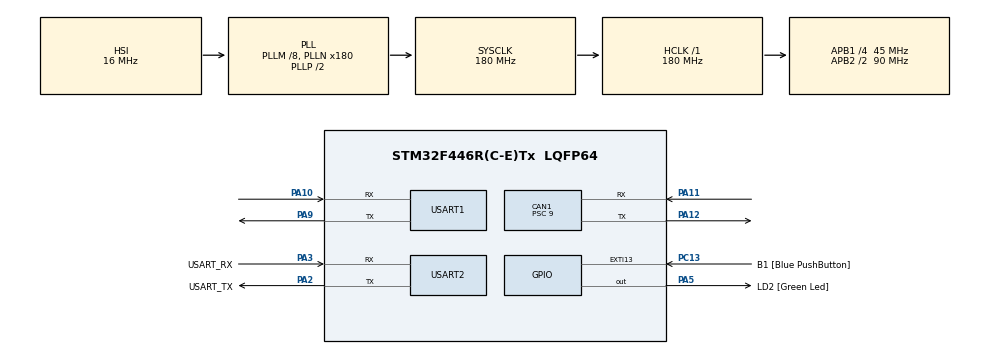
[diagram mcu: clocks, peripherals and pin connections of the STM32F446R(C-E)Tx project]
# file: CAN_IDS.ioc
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CAN1.BS1=CAN_BS1_8TQ
CAN1.CalculateBaudRate=500000
CAN1.CalculateTimeBit=2000
CAN1.CalculateTimeQuantum=200.0
CAN1.Prescaler=9
Mcu.Family=STM32F4
Mcu.Name=STM32F446R(C-E)Tx
Mcu.Package=LQFP64
NVIC.CAN1_RX0_IRQn=true\:0\:0\:false\:false\:true\:true\:true\:true
NVIC.CAN1_RX1_IRQn=true\:0\:0\:false\:false\:true\:true\:true\:true
NVIC.PriorityGroup=NVIC_PRIORITYGROUP_0
NVIC.USART1_IRQn=true\:0\:0\:false\:false\:true\:true\:true\:true
PA10.Mode=Asynchronous
PA10.Signal=USART1_RX
PA11.Mode=CAN_Activate
PA11.Signal=CAN1_RX
PA12.Mode=CAN_Activate
PA12.Signal=CAN1_TX
PA13.GPIO_Label=TMS
PA13.Mode=Serial_Wire
PA13.Signal=SYS_JTMS-SWDIO
PA14.GPIO_Label=TCK
PA14.Mode=Serial_Wire
PA14.Signal=SYS_JTCK-SWCLK
PA2.GPIO_Label=USART_TX
PA2.Mode=Asynchronous
PA2.Signal=USART2_TX
PA3.GPIO_Label=USART_RX
PA3.Mode=Asynchronous
PA3.Signal=USART2_RX
PA5.GPIO_Label=LD2 [Green Led]
PA5.Signal=GPIO_Output
PA9.Mode=Asynchronous
PA9.Signal=USART1_TX
PB3.GPIO_Label=SWO
PB3.Signal=SYS_JTDO-SWO
PC13.GPIO_Label=B1 [Blue PushButton]
PC13.GPIO_ModeDefaultEXTI=GPIO_MODE_IT_FALLING
PC13.Signal=GPXTI13
PC14-OSC32_IN.Mode=LSE-External-Oscillator
PC14-OSC32_IN.Signal=RCC_OSC32_IN
PC15-OSC32_OUT.Mode=LSE-External-Oscillator
PC15-OSC32_OUT.Signal=RCC_OSC32_OUT
PH0-OSC_IN.Mode=HSE-External-Oscillator
PH0-OSC_IN.Signal=RCC_OSC_IN
PH1-OSC_OUT.Mode=HSE-External-Oscillator
PH1-OSC_OUT.Signal=RCC_OSC_OUT
ProjectManager.HeapSize=0x8000
ProjectManager.StackSize=0x1000
ProjectManager.TargetToolchain=STM32CubeIDE
RCC.48MHZClocksFreq_Value=84000000
RCC.AHBFreq_Value=180000000
RCC.APB1CLKDivider=RCC_HCLK_DIV4
RCC.APB1Freq_Value=45000000
RCC.APB1TimFreq_Value=90000000
RCC.APB2CLKDivider=RCC_HCLK_DIV2
RCC.APB2Freq_Value=90000000
RCC.APB2TimFreq_Value=180000000
RCC.CortexFreq_Value=180000000
RCC.FLatency-AdvancedSettings=FLASH_LATENCY_5
RCC.HCLKFreq_Value=180000000
RCC.HSE_VALUE=8000000
RCC.HSI_VALUE=16000000
RCC.PLLM=8
RCC.PLLN=180
RCC.SYSCLKFreq_VALUE=180000000
RCC.SYSCLKSource=RCC_SYSCLKSOURCE_PLLCLK
RCC.USBFreq_Value=180000000
RCC.VCOOutputFreq_Value=360000000
STMicroelectronics.X-CUBE-AI.10.2.0.ActivationBufferSizeList=2688
STMicroelectronics.X-CUBE-AI.10.2.0.ActivationBuffers=pool0
STMicroelectronics.X-CUBE-AI.10.2.0.ActivationNames=pool0
STMicroelectronics.X-CUBE-AI.10.2.0.ActivationSizes=AI_NETWORK_DATA_ACTIVATION_1_SIZE
STMicroelectronics.X-CUBE-AI.10.2.0.HeapSize=0x8000
STMicroelectronics.X-CUBE-AI.10.2.0.InternalRamActivationBufferMaxSize=AI_NETWORK_DATA_ACTIVATIONS_SIZE
STMicroelectronics.X-CUBE-AI.10.2.0.LatestDirectoryUsed-1ac19ca26636faceee7dcea310d20471a6b53a83fc62aaac5f1034fb5df33bc9=D\:\\HCL\\data
STMicroelectronics.X-CUBE-AI.10.2.0.MaximumNumberOfInputLayer=1
STMicroelectronics.X-CUBE-AI.10.2.0.MaximumNumberOfOutputLayer=1
STMicroelectronics.X-CUBE-AI.10.2.0.MaximumSizeOfInputLayer=1
STMicroelectronics.X-CUBE-AI.10.2.0.MaximumSizeOfOutputLayer=1
STMicroelectronics.X-CUBE-AI.10.2.0.ModelActualCompression-1ac19ca26636faceee7dcea310d20471a6b53a83fc62aaac5f1034fb5df33bc9=0.0
STMicroelectronics.X-CUBE-AI.10.2.0.ModelCompression-1ac19ca26636faceee7dcea310d20471a6b53a83fc62aaac5f1034fb5df33bc9=None
STMicroelectronics.X-CUBE-AI.10.2.0.ModelFlashOccupation-1ac19ca26636faceee7dcea310d20471a6b53a83fc62aaac5f1034fb5df33bc9=17250
STMicroelectronics.X-CUBE-AI.10.2.0.ModelHashList=1ac19ca26636faceee7dcea310d20471a6b53a83fc62aaac5f1034fb5df33bc9
STMicroelectronics.X-CUBE-AI.10.2.0.ModelKind-1ac19ca26636faceee7dcea310d20471a6b53a83fc62aaac5f1034fb5df33bc9=TFLITE
STMicroelectronics.X-CUBE-AI.10.2.0.ModelMacc-1ac19ca26636faceee7dcea310d20471a6b53a83fc62aaac5f1034fb5df33bc9=3088
STMicroelectronics.X-CUBE-AI.10.2.0.ModelName-1ac19ca26636faceee7dcea310d20471a6b53a83fc62aaac5f1034fb5df33bc9=network
STMicroelectronics.X-CUBE-AI.10.2.0.ModelNameList=network
STMicroelectronics.X-CUBE-AI.10.2.0.ModelRamOccupation-1ac19ca26636faceee7dcea310d20471a6b53a83fc62aaac5f1034fb5df33bc9=2688
STMicroelectronics.X-CUBE-AI.10.2.0.ModelStructureFile-1ac19ca26636faceee7dcea310d20471a6b53a83fc62aaac5f1034fb5df33bc9=D\:\\HCL\\data\\can_ids_model.tflite
STMicroelectronics.X-CUBE-AI.10.2.0.ModelType-1ac19ca26636faceee7dcea310d20471a6b53a83fc62aaac5f1034fb5df33bc9=STM32Cube.AI MCU runtime
STMicroelectronics.X-CUBE-AI.10.2.0.ReadyForCodeGeneration=true
STMicroelectronics.X-CUBE-AI.10.2.0.StackSize=0x1000
STMicroelectronics.X-CUBE-AI.10.2.0.WorkingBufferStartAddrList=0xFFFFFFFF
STMicroelectronics.X-CUBE-AI.10.2.0.XAaCUBEAaAICcArtificialOoIntelligenceJjCore=true
STMicroelectronics.X-CUBE-AI.10.2.0.copyWeightToRam=false
STMicroelectronics.X-CUBE-AI.10.2.0.copyWeightToRam-1ac19ca26636faceee7dcea310d20471a6b53a83fc62aaac5f1034fb5df33bc9=false
STMicroelectronics.X-CUBE-AI.10.2.0.customLayerConfigEnabled=false
STMicroelectronics.X-CUBE-AI.10.2.0.customLayerConfigEnabled-1ac19ca26636faceee7dcea310d20471a6b53a83fc62aaac5f1034fb5df33bc9=false
STMicroelectronics.X-CUBE-AI.10.2.0.noOnnxIoTranspose=false
STMicroelectronics.X-CUBE-AI.10.2.0.noOnnxIoTranspose-1ac19ca26636faceee7dcea310d20471a6b53a83fc62aaac5f1034fb5df33bc9=false
STMicroelectronics.X-CUBE-AI.10.2.0.useInputAllocation=true
STMicroelectronics.X-CUBE-AI.10.2.0.useInputAllocation-1ac19ca26636faceee7dcea310d20471a6b53a83fc62aaac5f1034fb5df33bc9=true
STMicroelectronics.X-CUBE-AI.10.2.0.useOutputAllocation=true
STMicroelectronics.X-CUBE-AI.10.2.0.useOutputAllocation-1ac19ca26636faceee7dcea310d20471a6b53a83fc62aaac5f1034fb5df33bc9=true
USART1.VirtualMode=VM_ASYNC
USART2.VirtualMode=VM_ASYNC
VP_STMicroelectronics.X-CUBE-AI_VS_ArtificialOoIntelligenceJjXAaCUBEAaAI_10.2.0.Mode=ArtificialOoIntelligenceJjXAaCUBEAaAI
board=NUCLEO-F446RE

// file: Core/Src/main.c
/* USER CODE BEGIN Header */
/**
  ******************************************************************************
  * @file           : main.c
  * @brief          : Main program body
  ******************************************************************************
  * @attention
  *
  * Copyright (c) 2026 STMicroelectronics.
  * All rights reserved.
  *
  * This software is licensed under terms that can be found in the LICENSE file
  * in the root directory of this software component.
  * If no LICENSE file comes with this software, it is provided AS-IS.
  *
  ******************************************************************************
  */
/* USER CODE END Header */
#include "main.h"

/* USER CODE BEGIN Includes */
#ifdef __cplusplus
extern "C" {
#endif

#include "uart_log.h"
#include "can_driver.h"
#include "feature_extractor.h"

#ifdef __cplusplus
}
#endif

#include "network.h"
#include "network_data.h"
#include "network_data_params.h"
#include "uart_frame_parser.h"
/* USER CODE END Includes */

CAN_HandleTypeDef hcan1;

UART_HandleTypeDef huart1;
UART_HandleTypeDef huart2;

/* USER CODE BEGIN PV */
static ai_handle network = AI_HANDLE_NULL;

// Input/output buffers — int8 since model is quantized
static ai_i8 in_data[AI_NETWORK_IN_1_SIZE];
static ai_i8 out_data[AI_NETWORK_OUT_1_SIZE];

static uint32_t prev_timestamp = 0;

static const char* CLASS_NAMES[5] = {
    "NORMAL", "DoS ATTACK", "FUZZY ATTACK", "GEAR SPOOFING", "RPM SPOOFING"
};
/* USER CODE END PV */

void SystemClock_Config(void);
static void MX_GPIO_Init(void);
static void MX_USART2_UART_Init(void);
static void MX_CAN1_Init(void);
static void MX_USART1_UART_Init(void);

int main(void)
{

  /* MCU Configuration--------------------------------------------------------*/

  /* Reset of all peripherals, Initializes the Flash interface and the Systick. */
  HAL_Init();

  /* Configure the system clock */
  SystemClock_Config();

  /* Initialize all configured peripherals */
  MX_GPIO_Init();
  MX_USART2_UART_Init();
  MX_CAN1_Init();
  MX_USART1_UART_Init();

  /* USER CODE BEGIN 2 */
  uart_log(&huart2, "\r\n=== CAN IDS System Starting ===\r\n");

  CAN_Driver_Init();
  uart_log(&huart2, "[OK] CAN Driver Initialized\r\n");

  UART_Parser_Init(&huart1);
  uart_log(&huart2, "[OK] UART Frame Parser Ready\r\n");

  static ai_u8 activations[AI_NETWORK_DATA_ACTIVATIONS_SIZE];
  const ai_handle activations_ptr[1] = { activations };
  ai_error err = ai_network_create_and_init(&network, activations_ptr, NULL);
  if (err.type != AI_ERROR_NONE)
  {
      uart_log(&huart2, "[ERROR] Network init failed!\r\n");
      while(1);
  }
  uart_log(&huart2, "[OK] AI Network Initialized\r\n");

  ai_buffer* ai_input  = ai_network_inputs_get(network, NULL);
  ai_buffer* ai_output = ai_network_outputs_get(network, NULL);
  ai_input[0].data  = AI_HANDLE_PTR(in_data);
  ai_output[0].data = AI_HANDLE_PTR(out_data);

  uart_log(&huart2, "=== System Ready - Monitoring CAN Bus ===\r\n\r\n");
  /* USER CODE END 2 */

  /* Infinite loop */
  while (1)
  {

      /* USER CODE BEGIN 3 */
      UART_Parser_Process();

      CAN_Frame_t frame;
      if (CAN_Driver_GetFrame(&frame))
      {
          FeatureVector_t fv;
          Feature_Extract(&frame, prev_timestamp, &fv);
          prev_timestamp = frame.timestamp;

          for (int i = 0; i < AI_NETWORK_IN_1_SIZE; i++)
          {
              float q = (fv.features[i] / 0.071320593f) + 78.0f;
              if      (q >  127.0f) q =  127.0f;
              else if (q < -128.0f) q = -128.0f;
              in_data[i] = (ai_i8)q;
          }

          ai_i32 n_batch = ai_network_run(network, ai_input, ai_output);
          if (n_batch != 1)
          {
              uart_log(&huart2, "[ERROR] Inference failed!\r\n");
          }
          else
          {
              int   best_label = 0;
              ai_i8 best_score = out_data[0];

              for (int i = 1; i < AI_NETWORK_OUT_1_SIZE; i++)
              {
                  if (out_data[i] > best_score)
                  {
                      best_score = out_data[i];
                      best_label = i;
                  }
              }

              float score_float = ((float)best_score - (-128.0f)) * 0.003906250f;
              int confidence = (int)(score_float * 100.0f);
              if (confidence > 100) confidence = 100;

              if (best_label != 0)
              {
                  uart_log_fmt(&huart2,
                      "[ALERT] *** %s *** | ID: 0x%03lX | Confidence: %d%%\r\n",
                      CLASS_NAMES[best_label],
                      frame.can_id,
                      confidence);
              }
              else
              {
                  static uint32_t normal_count = 0;
                  normal_count++;
                  if (normal_count % 1000 == 0)
                  {
                      uart_log_fmt(&huart2,
                          "[INFO] Normal traffic - %lu frames processed\r\n",
                          normal_count);
                      normal_count = 0;
                  }
              }
          }
      }
      /* USER CODE END 3 */
  }
}
void SystemClock_Config(void)
{
  RCC_OscInitTypeDef RCC_OscInitStruct = {0};
  RCC_ClkInitTypeDef RCC_ClkInitStruct = {0};

  /** Configure the main internal regulator output voltage
  */
  __HAL_RCC_PWR_CLK_ENABLE();
  __HAL_PWR_VOLTAGESCALING_CONFIG(PWR_REGULATOR_VOLTAGE_SCALE1);

  /** Initializes the RCC Oscillators according to the specified parameters
  * in the RCC_OscInitTypeDef structure.
  */
  RCC_OscInitStruct.OscillatorType = RCC_OSCILLATORTYPE_HSI;
  RCC_OscInitStruct.HSIState = RCC_HSI_ON;
  RCC_OscInitStruct.HSICalibrationValue = RCC_HSICALIBRATION_DEFAULT;
  RCC_OscInitStruct.PLL.PLLState = RCC_PLL_ON;
  RCC_OscInitStruct.PLL.PLLSource = RCC_PLLSOURCE_HSI;
  RCC_OscInitStruct.PLL.PLLM = 8;
  RCC_OscInitStruct.PLL.PLLN = 180;
  RCC_OscInitStruct.PLL.PLLP = RCC_PLLP_DIV2;
  RCC_OscInitStruct.PLL.PLLQ = 2;
  RCC_OscInitStruct.PLL.PLLR = 2;
  if (HAL_RCC_OscConfig(&RCC_OscInitStruct) != HAL_OK)
  {
    Error_Handler();
  }

  /** Activate the Over-Drive mode
  */
  if (HAL_PWREx_EnableOverDrive() != HAL_OK)
  {
    Error_Handler();
  }

  /** Initializes the CPU, AHB and APB buses clocks
  */
  RCC_ClkInitStruct.ClockType = RCC_CLOCKTYPE_HCLK|RCC_CLOCKTYPE_SYSCLK
                              |RCC_CLOCKTYPE_PCLK1|RCC_CLOCKTYPE_PCLK2;
  RCC_ClkInitStruct.SYSCLKSource = RCC_SYSCLKSOURCE_PLLCLK;
  RCC_ClkInitStruct.AHBCLKDivider = RCC_SYSCLK_DIV1;
  RCC_ClkInitStruct.APB1CLKDivider = RCC_HCLK_DIV4;
  RCC_ClkInitStruct.APB2CLKDivider = RCC_HCLK_DIV2;

  if (HAL_RCC_ClockConfig(&RCC_ClkInitStruct, FLASH_LATENCY_5) != HAL_OK)
  {
    Error_Handler();
  }
}

static void MX_CAN1_Init(void)
{

  hcan1.Instance = CAN1;
  hcan1.Init.Prescaler = 9;
  hcan1.Init.Mode = CAN_MODE_NORMAL;
  hcan1.Init.SyncJumpWidth = CAN_SJW_1TQ;
  hcan1.Init.TimeSeg1 = CAN_BS1_8TQ;
  hcan1.Init.TimeSeg2 = CAN_BS2_1TQ;
  hcan1.Init.TimeTriggeredMode = DISABLE;
  hcan1.Init.AutoBusOff = DISABLE;
  hcan1.Init.AutoWakeUp = DISABLE;
  hcan1.Init.AutoRetransmission = DISABLE;
  hcan1.Init.ReceiveFifoLocked = DISABLE;
  hcan1.Init.TransmitFifoPriority = DISABLE;
  if (HAL_CAN_Init(&hcan1) != HAL_OK)
  {
    Error_Handler();
  }

}

static void MX_USART1_UART_Init(void)
{

  huart1.Instance = USART1;
  huart1.Init.BaudRate = 115200;
  huart1.Init.WordLength = UART_WORDLENGTH_8B;
  huart1.Init.StopBits = UART_STOPBITS_1;
  huart1.Init.Parity = UART_PARITY_NONE;
  huart1.Init.Mode = UART_MODE_TX_RX;
  huart1.Init.HwFlowCtl = UART_HWCONTROL_NONE;
  huart1.Init.OverSampling = UART_OVERSAMPLING_16;
  if (HAL_UART_Init(&huart1) != HAL_OK)
  {
    Error_Handler();
  }

}

static void MX_USART2_UART_Init(void)
{

  huart2.Instance = USART2;
  huart2.Init.BaudRate = 115200;
  huart2.Init.WordLength = UART_WORDLENGTH_8B;
  huart2.Init.StopBits = UART_STOPBITS_1;
  huart2.Init.Parity = UART_PARITY_NONE;
  huart2.Init.Mode = UART_MODE_TX_RX;
  huart2.Init.HwFlowCtl = UART_HWCONTROL_NONE;
  huart2.Init.OverSampling = UART_OVERSAMPLING_16;
  if (HAL_UART_Init(&huart2) != HAL_OK)
  {
    Error_Handler();
  }

}

static void MX_GPIO_Init(void)
{
  GPIO_InitTypeDef GPIO_InitStruct = {0};

  /* GPIO Ports Clock Enable */
  __HAL_RCC_GPIOC_CLK_ENABLE();
  __HAL_RCC_GPIOH_CLK_ENABLE();
  __HAL_RCC_GPIOA_CLK_ENABLE();
  __HAL_RCC_GPIOB_CLK_ENABLE();

  /*Configure GPIO pin Output Level */
  HAL_GPIO_WritePin(LD2_GPIO_Port, LD2_Pin, GPIO_PIN_RESET);

  /*Configure GPIO pin : B1_Pin */
  GPIO_InitStruct.Pin = B1_Pin;
  GPIO_InitStruct.Mode = GPIO_MODE_IT_FALLING;
  GPIO_InitStruct.Pull = GPIO_NOPULL;
  HAL_GPIO_Init(B1_GPIO_Port, &GPIO_InitStruct);

  /*Configure GPIO pin : LD2_Pin */
  GPIO_InitStruct.Pin = LD2_Pin;
  GPIO_InitStruct.Mode = GPIO_MODE_OUTPUT_PP;
  GPIO_InitStruct.Pull = GPIO_NOPULL;
  GPIO_InitStruct.Speed = GPIO_SPEED_FREQ_LOW;
  HAL_GPIO_Init(LD2_GPIO_Port, &GPIO_InitStruct);

}

void Error_Handler(void)
{
  __disable_irq();
  while (1)
  {
  }
}
